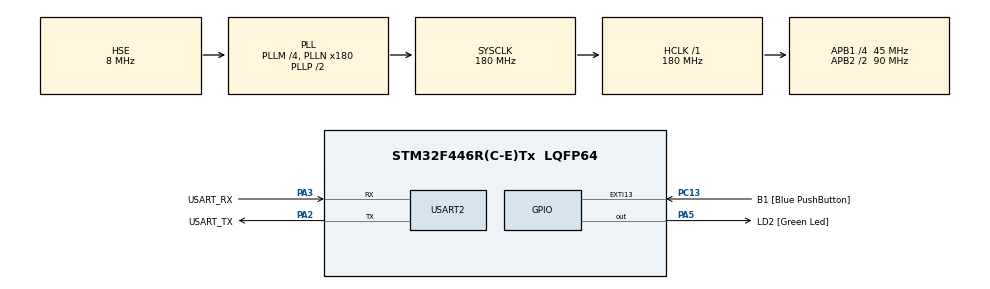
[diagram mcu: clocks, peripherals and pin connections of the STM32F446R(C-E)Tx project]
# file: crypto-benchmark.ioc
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Mcu.Family=STM32F4
Mcu.Name=STM32F446R(C-E)Tx
Mcu.Package=LQFP64
NVIC.PriorityGroup=NVIC_PRIORITYGROUP_0
PA13.GPIO_Label=TMS
PA13.Mode=Serial_Wire
PA13.Signal=SYS_JTMS-SWDIO
PA14.GPIO_Label=TCK
PA14.Mode=Serial_Wire
PA14.Signal=SYS_JTCK-SWCLK
PA2.GPIO_Label=USART_TX
PA2.Mode=Asynchronous
PA2.Signal=USART2_TX
PA3.GPIO_Label=USART_RX
PA3.Mode=Asynchronous
PA3.Signal=USART2_RX
PA5.GPIO_Label=LD2 [Green Led]
PA5.Signal=GPIO_Output
PB3.GPIO_Label=SWO
PB3.Signal=SYS_JTDO-SWO
PC13.GPIO_Label=B1 [Blue PushButton]
PC13.GPIO_ModeDefaultEXTI=GPIO_MODE_IT_FALLING
PC13.Signal=GPXTI13
PC14-OSC32_IN.Mode=LSE-External-Oscillator
PC14-OSC32_IN.Signal=RCC_OSC32_IN
PC15-OSC32_OUT.Mode=LSE-External-Oscillator
PC15-OSC32_OUT.Signal=RCC_OSC32_OUT
PH0-OSC_IN.Mode=HSE-External-Oscillator
PH0-OSC_IN.Signal=RCC_OSC_IN
PH1-OSC_OUT.Mode=HSE-External-Oscillator
PH1-OSC_OUT.Signal=RCC_OSC_OUT
ProjectManager.HeapSize=0x200
ProjectManager.StackSize=0x400
ProjectManager.TargetToolchain=STM32CubeIDE
RCC.48MHZClocksFreq_Value=84000000
RCC.AHBFreq_Value=180000000
RCC.APB1CLKDivider=RCC_HCLK_DIV4
RCC.APB1Freq_Value=45000000
RCC.APB1TimFreq_Value=90000000
RCC.APB2CLKDivider=RCC_HCLK_DIV2
RCC.APB2Freq_Value=90000000
RCC.APB2TimFreq_Value=180000000
RCC.CortexFreq_Value=180000000
RCC.FLatency-AdvancedSettings=FLASH_LATENCY_5
RCC.HCLKFreq_Value=180000000
RCC.HSE_VALUE=8000000
RCC.HSI_VALUE=16000000
RCC.PLLM=4
RCC.PLLN=180
RCC.PLLSourceVirtual=RCC_PLLSOURCE_HSE
RCC.SYSCLKFreq_VALUE=180000000
RCC.SYSCLKSource=RCC_SYSCLKSOURCE_PLLCLK
RCC.USBFreq_Value=180000000
RCC.VCOOutputFreq_Value=360000000
USART2.VirtualMode=VM_ASYNC
VP_CRC_VS_CRC.Mode=CRC_Activate
board=NUCLEO-F446RE

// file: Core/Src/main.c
/* USER CODE BEGIN Header */
/**
  ******************************************************************************
  * @file           : main.c
  * @brief          : Main program body
  ******************************************************************************
  * @attention
  *
  * Copyright (c) 2024 STMicroelectronics.
  * All rights reserved.
  *
  * This software is licensed under terms that can be found in the LICENSE file
  * in the root directory of this software component.
  * If no LICENSE file comes with this software, it is provided AS-IS.
  *
  ******************************************************************************
  */
/* USER CODE END Header */
#include "main.h"
#include "crc.h"
#include "usart.h"
#include "gpio.h"

/* USER CODE BEGIN Includes */
#include "crypto.h"
#include "stdio.h"
#include "string.h"
/* USER CODE END Includes */

/* USER CODE BEGIN PTD */
/* Private typedef -----------------------------------------------------------*/
typedef enum {FAILED = 0, PASSED = !FAILED} TestStatus;
/* Private define ------------------------------------------------------------*/
#define PLAINTEXT_LENGTH 16
/* Private macro -------------------------------------------------------------*/
/* Private variables ---------------------------------------------------------*/
#define USE_CHACHA

#ifdef USE_AES_CBC
const uint8_t Plaintext[PLAINTEXT_LENGTH] =
  {
    0x6b, 0xc1, 0xbe, 0xe2, 0x2e, 0x40, 0x9f, 0x96,
    0xe9, 0x3d, 0x7e, 0x11, 0x73, 0x93, 0x5f, 0x12
  };

uint8_t Key[CRL_AES128_KEY] =
  {
    0x40, 0x41, 0x42, 0x43, 0x44, 0x45, 0x46, 0x47,
    0x48, 0x49, 0x4a, 0x4b, 0x4c, 0x4d, 0x4e, 0x4f
  };

uint8_t IV[CRL_AES_BLOCK] =
  {
    0x00, 0x01, 0x02, 0x03, 0x04, 0x05, 0x06, 0x07,
    0x08, 0x09, 0x0a, 0x0b, 0x0c, 0x0d, 0x0e, 0x0f
  };

uint8_t OutputMessage[PLAINTEXT_LENGTH];
uint32_t OutputMessageLength = 0;

const uint8_t Expected_Ciphertext[PLAINTEXT_LENGTH] =
  {
   0xDC, 0x19, 0xE0, 0xF1, 0x38, 0x8B, 0x06, 0x21, 0x1C, 0xD1, 0xB2, 0x7E, 0xA2, 0x10, 0xD8, 0xD0
  };

int32_t STM32_AES_CBC_Encrypt(uint8_t*  InputMessage,
                              uint32_t  InputMessageLength,
                              uint8_t  *AES192_Key,
                              uint8_t  *InitializationVector,
                              uint32_t  IvLength,
                              uint8_t  *OutputMessage,
                              uint32_t *OutputMessageLength);

int32_t STM32_AES_CBC_Decrypt(uint8_t*  InputMessage,
                              uint32_t  InputMessageLength,
                              uint8_t  *AES192_Key,
                              uint8_t  *InitializationVector,
                              uint32_t  IvLength,
                              uint8_t  *OutputMessage,
                              uint32_t *OutputMessageLength);

#endif

#ifdef USE_AES_EBC
const uint8_t Plaintext_ECB[PLAINTEXT_LENGTH] =
  {
    0x6b, 0xc1, 0xbe, 0xe2, 0x2e, 0x40, 0x9f, 0x96,
    0xe9, 0x3d, 0x7e, 0x11, 0x73, 0x93, 0x5f, 0x12
  };

uint8_t Key_ECB[CRL_AES128_KEY] =
  {
    0x40, 0x41, 0x42, 0x43, 0x44, 0x45, 0x46, 0x47,
    0x48, 0x49, 0x4a, 0x4b, 0x4c, 0x4d, 0x4e, 0x4f
  };

uint8_t OutputMessage_ECB[PLAINTEXT_LENGTH];
uint32_t OutputMessageLength_ECB = 0;

const uint8_t Expected_Ciphertext_ECB[PLAINTEXT_LENGTH] =
  {
    0x8D, 0x16, 0x7C, 0x19, 0x9E, 0x62, 0xFD, 0x1D, 0x3F, 0x9F, 0x0D, 0x68, 0x38, 0xC5, 0xF8, 0xA4
  };

int32_t STM32_AES_ECB_Encrypt(uint8_t* InputMessage,
                              uint32_t InputMessageLength,
                              uint8_t  *AES256_Key,
                              uint8_t  *OutputMessage,
                              uint32_t *OutputMessageLength);

int32_t STM32_AES_ECB_Decrypt(uint8_t* InputMessage,
                              uint32_t InputMessageLength,
                              uint8_t *AES256_Key,
                              uint8_t  *OutputMessage,
                              uint32_t *OutputMessageLength);
#endif

TestStatus Buffercmp(const uint8_t* pBuffer,
                     uint8_t* pBuffer1,
                     uint16_t BufferLength);

#ifdef USE_RSA
uint8_t preallocated_buffer[4096]; /* buffer required for internal allocation of memory */
/******************************************************************************/
/************************** RSA 2048 Test Vector  ****************************/
/******************************************************************************/
const uint8_t Message[] =
  {
    0xEB, 0x39, 0x49, 0x2F, 0x73, 0xED, 0x5E, 0x1C, 0x5E,
    0x45, 0xAF, 0xB5, 0x7F, 0xC1, 0xD6, 0xFE,
  };

const uint8_t Modulus[] =
  {
    0xB5, 0x05, 0xFC, 0xA2, 0xCA, 0x33, 0x48, 0xD5, 0x9B, 0xF3, 0x00, 0x5F, 0x7C, 0xFD, 0xC4, 0x56, 0x4C, 0x25, 0x07,
    0x67, 0xE9, 0xC9, 0x40, 0x24, 0x69, 0x79, 0x61, 0x41, 0x98, 0x1D, 0x6A, 0xF5, 0x6A, 0x1A, 0x84, 0xB5, 0xA9, 0xA4,
    0xB3, 0x33, 0x5F, 0xA0, 0x25, 0xA8, 0x7F, 0x4B, 0x4D, 0x0B, 0xA0, 0x60, 0xB8, 0xBE, 0xF9, 0x34, 0x0B, 0xE4, 0x5F,
    0xDB, 0x05, 0x76, 0x20, 0x38, 0x90, 0xA0, 0x71, 0xCE, 0xE9, 0xB0, 0x59, 0x4B, 0x95, 0x12, 0x7B, 0xB4, 0x80, 0xED,
    0xC7, 0x43, 0xBD, 0xCE, 0x27, 0xFD, 0x2B, 0xEC, 0xD0, 0x33, 0x00, 0x24, 0x32, 0x9E, 0xED, 0xAF, 0x3C, 0x1A, 0x12,
    0x13, 0xB2, 0x8D, 0x32, 0xD1, 0x83, 0xEA, 0xF4, 0x1A, 0x9A, 0x46, 0x3A, 0x08, 0x8C, 0xD4, 0xBA, 0x67, 0xDA, 0x91,
    0x26, 0x79, 0x49, 0xBA, 0xAA, 0x54, 0x26, 0x56, 0x03, 0x76, 0xA7, 0x70, 0x58, 0x9E, 0xA8, 0x37, 0x60, 0xB8, 0xC5,
    0xC1, 0xF9, 0xDD, 0x54, 0x18, 0x4D, 0x7F, 0x91, 0xCC, 0x0A, 0xBB, 0x08, 0xC3, 0x05, 0x3C, 0x04, 0x8B, 0xDC, 0xD0,
    0xE9, 0x7A, 0x16, 0x28, 0x53, 0x0D, 0x20, 0x74, 0x0B, 0xD1, 0xD5, 0x0F, 0x16, 0x48, 0x06, 0xB2, 0x5F, 0x1E, 0x0A,
    0xC9, 0xDD, 0x9E, 0x17, 0xE5, 0x00, 0xD6, 0xB9, 0x2D, 0x40, 0xE6, 0xA8, 0xDC, 0x7F, 0xAE, 0x5B, 0x6B, 0x7F, 0x76,
    0x27, 0xF7, 0xED, 0x0C, 0xF5, 0x1D, 0xC1, 0x6F, 0xA4, 0x00, 0x45, 0x8A, 0x22, 0x09, 0x84, 0xD1, 0xB4, 0xB1, 0x18,
    0x44, 0x76, 0xC9, 0xD6, 0xA7, 0xC6, 0x72, 0x5B, 0x43, 0x48, 0x91, 0x85, 0xBB, 0x7F, 0xB1, 0x44, 0x73, 0x45, 0xF5,
    0x5A, 0x7E, 0x72, 0x3D, 0xA1, 0x8C, 0x43, 0xAE, 0x83, 0xD9, 0xB4, 0xCB, 0x1D, 0xDC, 0x26, 0x3F, 0x7F, 0x1E, 0xFE,
    0x83, 0x6C, 0x9A, 0x0D, 0xEA, 0xE1, 0x94, 0x55, 0xF1
  };

const uint8_t PublicExponent[] =
  {
    0x01, 0x00, 0x01
  };

const uint8_t PrivateExponent[] =
  {
    0x06, 0xBE, 0x0F, 0x57, 0xDC, 0xE2, 0x26, 0x1F, 0x56, 0xAC, 0xA9, 0x61, 0xE5, 0x1C, 0xEA, 0x98, 0x30, 0x43,
    0xDC, 0xCF, 0xC1, 0x04, 0x6E, 0xF0, 0x2C, 0x41, 0x8A, 0x1E, 0xD0, 0x54, 0xA0, 0x2C, 0x3D, 0xE4, 0x78, 0xF6,
    0xEF, 0x37, 0xA4, 0x39, 0x10, 0xA1, 0xBD, 0x65, 0x56, 0x40, 0x6E, 0xC1, 0x35, 0x1B, 0x05, 0x26, 0x8F, 0xCF,
    0xA1, 0x75, 0xC3, 0x20, 0x3C, 0x46, 0xD7, 0x12, 0x64, 0x48, 0xA5, 0x94, 0x88, 0x5D, 0xBA, 0x25, 0xB7, 0x8A,
    0xB5, 0xB2, 0xD6, 0x6E, 0x84, 0xD2, 0x80, 0x1A, 0x52, 0xA0, 0xFA, 0x66, 0xDA, 0xA6, 0x5B, 0xA5, 0xFD, 0x80,
    0xAF, 0xE7, 0xAB, 0xFC, 0x68, 0x99, 0xF5, 0x37, 0x8F, 0x22, 0x00, 0xA0, 0xDA, 0xB0, 0xB6, 0xF8, 0x50, 0xA7,
    0x0A, 0xDF, 0xCD, 0x85, 0x9A, 0xBD, 0x77, 0x4A, 0x63, 0x35, 0xA1, 0xAC, 0x7A, 0xB5, 0x0F, 0x71, 0xF6, 0xF0,
    0x97, 0x4C, 0x59, 0x7B, 0x53, 0xD1, 0x71, 0x98, 0x3D, 0xFD, 0x1E, 0xE3, 0x81, 0x39, 0x0A, 0xD7, 0x8D, 0x2B,
    0x82, 0x12, 0xCC, 0x9D, 0xF9, 0xC7, 0xEE, 0xAC, 0x90, 0x65, 0xC7, 0x01, 0xBC, 0x58, 0x52, 0xEF, 0x02, 0x74,
    0x04, 0x70, 0x87, 0xA0, 0x55, 0x42, 0xAF, 0x89, 0xF2, 0x9B, 0x22, 0xFB, 0x14, 0x5D, 0xF3, 0x26, 0x55, 0xD3,
    0x2F, 0x04, 0xF0, 0x92, 0xC3, 0x1F, 0x45, 0x7B, 0x82, 0xE9, 0x0F, 0xF1, 0x8C, 0xA2, 0x32, 0xA9, 0x56, 0x65,
    0xC8, 0x2E, 0xA1, 0xA5, 0x95, 0x16, 0xBF, 0xC5, 0xDB, 0x78, 0xF8, 0x83, 0xDB, 0xFD, 0x04, 0xD8, 0x29, 0x92,
    0x58, 0xD4, 0xE3, 0x8D, 0xD2, 0x66, 0xB6, 0xDB, 0x4A, 0xC0, 0x4B, 0xE0, 0xF4, 0xF8, 0x02, 0x9B, 0xE8, 0xD3,
    0x41, 0xD9, 0x4A, 0x32, 0x3C, 0x75, 0x43, 0x19, 0xA8, 0x1F, 0x41, 0x90, 0x92, 0x1E, 0xF7, 0x18, 0xE8, 0x0C,
    0x55, 0xC2, 0x98, 0x01
  };

const uint8_t EncryptedMessage[] =
  {
    0x45, 0x4E, 0x4F, 0xE2, 0x40, 0xBA, 0xF4, 0xD9, 0xED, 0xEA, 0x65, 0x79, 0xB4, 0xCF, 0x8D, 0xE4, 0x41, 0x3E,
    0x56, 0x78, 0xAC, 0x5C, 0x47, 0x3F, 0x22, 0x1F, 0x16, 0xCB, 0xBC, 0xFC, 0x9E, 0xB7, 0x31, 0x96, 0x37, 0x83,
    0x3A, 0xFE, 0x46, 0x51, 0x75, 0x27, 0xE6, 0x6F, 0x66, 0x3E, 0xC9, 0xB9, 0xB4, 0x7C, 0x1E, 0xB8, 0xF3, 0xB1,
    0xBA, 0x87, 0xF6, 0x12, 0x0F, 0xCA, 0xD7, 0x63, 0xC0, 0x8A, 0x86, 0xE3, 0xF6, 0x1C, 0x61, 0x5A, 0x01, 0xDD,
    0x3F, 0x97, 0xC9, 0x2A, 0x55, 0x0B, 0x46, 0x25, 0xE6, 0xAE, 0x87, 0x72, 0x08, 0xA8, 0x49, 0x10, 0xED, 0xE0,
    0xAB, 0xD5, 0x73, 0xE4, 0xF2, 0x74, 0x01, 0xCE, 0x7B, 0xAA, 0xD2, 0xC2, 0x86, 0xC1, 0x64, 0x8D, 0xD7, 0x63,
    0xA4, 0x7C, 0xDC, 0xA8, 0x21, 0x93, 0x12, 0x0D, 0xC3, 0x8D, 0xD9, 0x59, 0x97, 0x80, 0xC1, 0xC7, 0x8F, 0x0D,
    0x3B, 0x16, 0x3C, 0xE2, 0x2F, 0xB4, 0x52, 0x8C, 0x0C, 0x15, 0xE5, 0x98, 0x81, 0xEF, 0xB4, 0xD3, 0x5E, 0x72,
    0xC8, 0x89, 0x64, 0xBE, 0x54, 0xEC, 0xFB, 0x38, 0x85, 0xB4, 0x62, 0x39, 0xA6, 0xCC, 0xC4, 0x68, 0x0C, 0xDF,
    0xA4, 0x5A, 0x9D, 0x34, 0x31, 0x2A, 0x0C, 0x3B, 0x52, 0xCF, 0x13, 0xF3, 0xE8, 0x5A, 0x0C, 0xEA, 0x41, 0x94,
    0xD5, 0x25, 0xAA, 0xC0, 0x2B, 0xC8, 0xB2, 0x04, 0xA6, 0xCD, 0x26, 0xF6, 0x02, 0x98, 0x89, 0x79, 0x62, 0x76,
    0x76, 0xEF, 0xF4, 0x3C, 0x09, 0x16, 0x4B, 0x1A, 0x9C, 0xCA, 0x4F, 0x42, 0x9A, 0xA2, 0x4B, 0x98, 0xF8, 0xFF,
    0xBE, 0xBF, 0xE4, 0xA0, 0x0F, 0xEB, 0xC1, 0xDB, 0x69, 0x4D, 0x93, 0x16, 0x5F, 0x3D, 0xBF, 0xA1, 0xD8, 0x4D,
    0x05, 0x21, 0xD1, 0xB4, 0xDA, 0x13, 0x4C, 0x27, 0x8E, 0xB2, 0x4F, 0x57, 0x07, 0xCC, 0xA6, 0xA1, 0x0F, 0x52,
    0xD5, 0x72, 0x16, 0x9D
  };

/* String of entropy */
uint8_t entropy_data[32] =
  {
    0x91, 0x20, 0x1a, 0x18, 0x9b, 0x6d, 0x1a, 0xa7,
    0x0e, 0x69, 0x57, 0x6f, 0x36, 0xb6, 0xaa, 0x88,
    0x55, 0xfd, 0x4a, 0x7f, 0x97, 0xe9, 0x72, 0x69,
    0xb6, 0x60, 0x88, 0x78, 0xe1, 0x9c, 0x8c, 0xa5
  };

uint8_t output[2048/8];
int32_t outputSize = 0;

/* Private function prototypes -----------------------------------------------*/

int32_t RSA_Encrypt(RSApubKey_stt *P_pPubKey,
                    const uint8_t *P_pInputMessage,
                    int32_t P_InputSize,
                    uint8_t *P_pOutput);

int32_t RSA_Decrypt(RSAprivKey_stt * P_pPrivKey,
                    const uint8_t * P_pInputMessage,
                    uint8_t *P_pOutput,
                    int32_t *P_OutputSize);

#endif

#ifdef USE_CHACHA
const uint8_t key[] =
  {
    0x80, 0x81, 0x82, 0x83, 0x84, 0x85, 0x86, 0x87, 0x88, 0x89, 0x8a, 0x8b, 0x8c, 0x8d, 0x8e, 0x8f,
    0x90, 0x91, 0x92, 0x93, 0x94, 0x95, 0x96, 0x97, 0x98, 0x99, 0x9a, 0x9b, 0x9c, 0x9d, 0x9e, 0x9f,
  };

const uint8_t nonce[] =
  {
    0x07, 0x00, 0x00, 0x00, 0x40, 0x41, 0x42, 0x43, 0x44, 0x45, 0x46, 0x47,
  };

const uint8_t input[] =
  {
    0x6b, 0xc1, 0xbe, 0xe2, 0x2e, 0x40, 0x9f, 0x96,
	0xe9, 0x3d, 0x7e, 0x11, 0x73, 0x93, 0x5f, 0x12
  };

const uint8_t aad[] =
  {
    0x50, 0x51, 0x52, 0x53, 0xc0, 0xc1, 0xc2, 0xc3, 0xc4, 0xc5, 0xc6, 0xc7,
  };

uint8_t rfc_result[] =
  {
    0xd3, 0x1a, 0x8d, 0x34, 0x64, 0x8e, 0x60, 0xdb, 0x7b, 0x86, 0xaf, 0xbc, 0x53, 0xef, 0x7e, 0xc2,
    0xa4, 0xad, 0xed, 0x51, 0x29, 0x6e, 0x08, 0xfe, 0xa9, 0xe2, 0xb5, 0xa7, 0x36, 0xee, 0x62, 0xd6,
    0x3d, 0xbe, 0xa4, 0x5e, 0x8c, 0xa9, 0x67, 0x12, 0x82, 0xfa, 0xfb, 0x69, 0xda, 0x92, 0x72, 0x8b,
    0x1a, 0x71, 0xde, 0x0a, 0x9e, 0x06, 0x0b, 0x29, 0x05, 0xd6, 0xa5, 0xb6, 0x7e, 0xcd, 0x3b, 0x36,
    0x92, 0xdd, 0xbd, 0x7f, 0x2d, 0x77, 0x8b, 0x8c, 0x98, 0x03, 0xae, 0xe3, 0x28, 0x09, 0x1b, 0x58,
    0xfa, 0xb3, 0x24, 0xe4, 0xfa, 0xd6, 0x75, 0x94, 0x55, 0x85, 0x80, 0x8b, 0x48, 0x31, 0xd7, 0xbc,
    0x3f, 0xf4, 0xde, 0xf0, 0x8e, 0x4b, 0x7a, 0x9d, 0xe5, 0x76, 0xd2, 0x65, 0x86, 0xce, 0xc6, 0x4b,
    0x61, 0x16,
  };

const uint8_t rfc_tag[] =
  {
    0x1a, 0xe1, 0x0b, 0x59, 0x4f, 0x09, 0xe2, 0x6a, 0x7e, 0x90, 0x2e, 0xcb, 0xd0, 0x60, 0x06, 0x91,
  };
uint8_t outputBuffer_enc[265];
uint8_t outputBuffer_dec[265];

/* Private function prototypes -----------------------------------------------*/
int32_t STM32_ChaChaPoly_Encrypt(const uint8_t *AAD,
                                 int32_t      AADSize,
                                 const uint8_t *InputMessage,
                                 int32_t      InputMessageSize,
                                 const uint8_t  *Key,
                                 const uint8_t  *Nonce,
                                 uint8_t     *Output);

int32_t STM32_ChaChaPoly_Decrypt(const uint8_t *AAD,
                                 int32_t      AADSize,
                                 const uint8_t *InputMessage,
                                 int32_t      InputMessageSize,
                                 const uint8_t  *Key,
                                 const uint8_t  *Nonce,
                                 uint8_t     *Output,
                                 const uint8_t  *Tag);
#endif
/* USER CODE END PTD */

void SystemClock_Config(void);

int main(void)
{

  /* USER CODE BEGIN 1 */
  int32_t status = AES_SUCCESS;
  uint32_t stop_millis, start_millis;
  uint32_t result;
  uint8_t buff[50];
#ifdef USE_RSA
  RSApubKey_stt PubKey_st;
  RSAprivKey_stt PrivKey_st;
#endif
  /* USER CODE END 1 */

  /* MCU Configuration--------------------------------------------------------*/

  /* Reset of all peripherals, Initializes the Flash interface and the Systick. */
  HAL_Init();

  /* Configure the system clock */
  SystemClock_Config();

  /* Initialize all configured peripherals */
  MX_GPIO_Init();
  MX_USART2_UART_Init();
  MX_CRC_Init();
  /* USER CODE BEGIN 2 */
  HAL_UART_Transmit(&huart2, (uint8_t *)"Piotr Slawecki & Jan Chyczynski - Crypto Alg test for STM32F446:\n\r", strlen("Piotr Slawecki & Jan Chyczynski - Crypto Alg test for STM32F446:\n\r"), 100);
#ifdef USE_AES_CBC
  /* Encrypt DATA with AES in CBC mode */
  uint32_t start_millis = HAL_GetTick();
  for(int i = 0; i < 50000; i++) {
    status = STM32_AES_CBC_Encrypt( (uint8_t *) Plaintext, PLAINTEXT_LENGTH, Key, IV, sizeof(IV), OutputMessage,
                                    &OutputMessageLength);
    if (status == AES_SUCCESS)
    {
//      if (Buffercmp(Expected_Ciphertext, OutputMessage, PLAINTEXT_LENGTH) == PASSED)
//      {
//      }
//      else
//      {
//        Error_Handler();
//      }
    }
    else
    {
      Error_Handler();
    }

    /* Decrypt DATA with AES in CBC mode */
    status = STM32_AES_CBC_Decrypt( (uint8_t *) Expected_Ciphertext, PLAINTEXT_LENGTH, Key, IV, sizeof(IV), OutputMessage,
                                    &OutputMessageLength);
    if (status == AES_SUCCESS)
    {
//      if (Buffercmp(Plaintext, OutputMessage, PLAINTEXT_LENGTH) == PASSED)
//      {
//      }
//      else
//      {
//        Error_Handler();
//      }
    }
    else
    {
      Error_Handler();
    }
  }
  uint32_t stop_millis = HAL_GetTick();
  uint32_t result = stop_millis - start_millis;
    /* Turn on the green led in case of AES CBC operations are succssfuls*/
  uint8_t buff[50];
  sprintf(buff, "Elapsed (CryptoLib CBC 50k ops): %ld\n\r", result);
  HAL_UART_Transmit(&huart2, (uint8_t *)buff, strlen(buff), 100);
  HAL_GPIO_WritePin(GPIOA, GPIO_PIN_5, GPIO_PIN_SET);
  HAL_Delay(1000);
  HAL_GPIO_WritePin(GPIOA, GPIO_PIN_5, GPIO_PIN_RESET);
#endif

#ifdef USE_AES_EBC
  /* Encrypt DATA with AES in ECB mode */
  start_millis = HAL_GetTick();
  for(int i = 0; i < 50000; i++) {
    status = STM32_AES_ECB_Encrypt( (uint8_t *) Plaintext_ECB, PLAINTEXT_LENGTH, Key_ECB, OutputMessage_ECB,
                                    &OutputMessageLength_ECB);
    if (status == AES_SUCCESS)
    {
//      if (Buffercmp(Expected_Ciphertext_ECB, OutputMessage_ECB, PLAINTEXT_LENGTH) == PASSED)
//      {
//      }
//      else
//      {
//    	HAL_UART_Transmit(&huart2, (uint8_t *)"Error\n\r", strlen("Error\n\r"), 100);
//    	uint8_t errbuff[50];
//
//    	for(int b = 0; b < 16; b++) {
//    		sprintf(errbuff, "Ciphertext Byte %d: %02x\n\r", b, OutputMessage_ECB[b]);
//    		HAL_UART_Transmit(&huart2, (uint8_t *)errbuff, strlen(errbuff), 100);
//    	}
//
//        Error_Handler();
//      }
    }
    else
    {
      Error_Handler();
    }
    /* Decrypt DATA with AES in ECB mode */
    status = STM32_AES_ECB_Decrypt( (uint8_t *) Expected_Ciphertext_ECB, PLAINTEXT_LENGTH, Key_ECB, OutputMessage_ECB,
                                    &OutputMessageLength_ECB);
    if (status == AES_SUCCESS)
    {
//      if (Buffercmp(Plaintext_ECB, OutputMessage_ECB, PLAINTEXT_LENGTH) == PASSED)
//      {
//      }
//      else
//      {
//        Error_Handler();
//      }
    }
    else
    {
      Error_Handler();
    }
  }
  stop_millis = HAL_GetTick();
  result = stop_millis - start_millis;
  sprintf(buff, "Elapsed (CryptoLib ECB 50k ops): %ld\n\r", result);
  HAL_UART_Transmit(&huart2, (uint8_t *)buff, strlen(buff), 100);
  HAL_GPIO_WritePin(GPIOA, GPIO_PIN_5, GPIO_PIN_SET);
  HAL_Delay(1000);
  HAL_GPIO_WritePin(GPIOA, GPIO_PIN_5, GPIO_PIN_RESET);
#endif

#ifdef USE_RSA
  status = RSA_ERR_GENERIC;
  start_millis = HAL_GetTick();
  for(int i = 0; i < 50; i++) {
  /* Testing Encryption and Decryption */
    /* Preparing for Encryption */
    PubKey_st.mExponentSize = sizeof(PublicExponent);
    PubKey_st.mModulusSize = sizeof(Modulus);
    PubKey_st.pmExponent = (uint8_t *) PublicExponent;
    PubKey_st.pmModulus = (uint8_t *)Modulus;
    status = RSA_Encrypt(&PubKey_st, Message, sizeof(Message), output);

    if (status == RSA_SUCCESS)
    {
      /* Now we will test decryption */
      PrivKey_st.mExponentSize = sizeof(PrivateExponent);
      PrivKey_st.mModulusSize = sizeof(Modulus);
      PrivKey_st.pmExponent = (uint8_t *) PrivateExponent;
      PrivKey_st.pmModulus = (uint8_t *) Modulus;
      status = RSA_Decrypt(&PrivKey_st, output, output, &outputSize);

      if (status == RSA_SUCCESS)
      {
        /* Check expected output */
//        if ( (Buffercmp(Message, output, sizeof(Message)) == PASSED ) && (outputSize == sizeof(Message)))
//        {
//          /* add application traitment in case of Encryption/Decryption is passed */
//        }
//        else
//        {
//          HAL_UART_Transmit(&huart2, (uint8_t *)"Error\n\r", strlen("Error\n\r"), 100);
//          Error_Handler();
//        }
      }
      else
      {
    	HAL_UART_Transmit(&huart2, (uint8_t *)"Error\n\r", strlen("Error\n\r"), 100);
        Error_Handler();
      }
    }
    else
    {
      HAL_UART_Transmit(&huart2, (uint8_t *)"Error\n\r", strlen("Error\n\r"), 100);
      Error_Handler();
    }

  }
  stop_millis = HAL_GetTick();
  result = stop_millis - start_millis;
  sprintf(buff, "Elapsed (CryptoLib RSA-256 50 ops): %ld\n\r", result);
  HAL_UART_Transmit(&huart2, (uint8_t *)buff, strlen(buff), 100);
    /* Turn on the green led in case of RSA encryption/decryption operations are successful*/
  HAL_GPIO_WritePin(GPIOA, GPIO_PIN_5, GPIO_PIN_SET);
  HAL_Delay(1000);
  HAL_GPIO_WritePin(GPIOA, GPIO_PIN_5, GPIO_PIN_RESET);
#endif

#ifdef USE_CHACHA
  status = CHACHA20POLY1305_SUCCESS; /* Status */
  start_millis = HAL_GetTick();
  for(int i = 0; i < 50000; i++) {
  	status = STM32_ChaChaPoly_Encrypt(aad, sizeof(aad), input, sizeof(input), key, nonce, outputBuffer_enc);

    if (status == CHACHA20POLY1305_SUCCESS)
    {
      /* Function returned SUCCESS */
      /* Checking Encrypted text with expected value */
//      if (Buffercmp(rfc_result, outputBuffer, sizeof(rfc_result)) == PASSED)
//      {
//        /* add application traitment in case of CHACHA20-POLY1305 success */
//      }
//      else
//      {
//        Error_Handler();
//      }
      /* Checking TAG with expected value */
//      if (Buffercmp(rfc_tag, outputBuffer + sizeof(rfc_result), sizeof(rfc_tag)) == PASSED)
//      {
//        /* add application traitment in case of CHACHA20-POLY1305 success */
//      }
//      else
//      {
//        Error_Handler();
//      }
    }
    else
    {
      HAL_UART_Transmit(&huart2, (uint8_t *)"Error\n\r", strlen("Error\n\r"), 100);
      Error_Handler();

    }

    status = STM32_ChaChaPoly_Decrypt(aad, sizeof(aad), outputBuffer_enc, sizeof(outputBuffer_enc), key, nonce, outputBuffer_dec, rfc_tag);

    if (status == AUTHENTICATION_SUCCESSFUL)
    {

      /* Function returned AUTHENTICATION_SUCCESSFUL */
      /* Checking Decrypted text with expected value */
      if (Buffercmp(input, outputBuffer_dec, sizeof(input)) == PASSED)

      {
        /* add application traitment in case of CHACHA20-POLY1305 success */
      }
      else
      {
    	HAL_UART_Transmit(&huart2, (uint8_t *)"Error\n\r", strlen("Error\n\r"), 100);
        Error_Handler();

      }
    }
    else
    {

      //Error_Handler();
    }
  }
  stop_millis = HAL_GetTick();
  result = stop_millis - start_millis;
  sprintf(buff, "Elapsed (CryptoLib ChaCha20-Poly1305 50k ops): %ld\n\r", result);
  HAL_UART_Transmit(&huart2, (uint8_t *)buff, strlen(buff), 100);
    /* Turn on the green led in case of ARC4 operations are successful*/
  HAL_GPIO_WritePin(GPIOA, GPIO_PIN_5, GPIO_PIN_SET);
#endif
  /* USER CODE END 2 */

  /* Infinite loop */
  while (1)
  {

  }
}

void SystemClock_Config(void)
{
  RCC_OscInitTypeDef RCC_OscInitStruct = {0};
  RCC_ClkInitTypeDef RCC_ClkInitStruct = {0};

  /** Configure the main internal regulator output voltage
  */
  __HAL_RCC_PWR_CLK_ENABLE();
  __HAL_PWR_VOLTAGESCALING_CONFIG(PWR_REGULATOR_VOLTAGE_SCALE1);

  /** Initializes the RCC Oscillators according to the specified parameters
  * in the RCC_OscInitTypeDef structure.
  */
  RCC_OscInitStruct.OscillatorType = RCC_OSCILLATORTYPE_HSE;
  RCC_OscInitStruct.HSEState = RCC_HSE_ON;
  RCC_OscInitStruct.PLL.PLLState = RCC_PLL_ON;
  RCC_OscInitStruct.PLL.PLLSource = RCC_PLLSOURCE_HSE;
  RCC_OscInitStruct.PLL.PLLM = 4;
  RCC_OscInitStruct.PLL.PLLN = 180;
  RCC_OscInitStruct.PLL.PLLP = RCC_PLLP_DIV2;
  RCC_OscInitStruct.PLL.PLLQ = 2;
  RCC_OscInitStruct.PLL.PLLR = 2;
  if (HAL_RCC_OscConfig(&RCC_OscInitStruct) != HAL_OK)
  {
    Error_Handler();
  }

  /** Activate the Over-Drive mode
  */
  if (HAL_PWREx_EnableOverDrive() != HAL_OK)
  {
    Error_Handler();
  }

  /** Initializes the CPU, AHB and APB buses clocks
  */
  RCC_ClkInitStruct.ClockType = RCC_CLOCKTYPE_HCLK|RCC_CLOCKTYPE_SYSCLK
                              |RCC_CLOCKTYPE_PCLK1|RCC_CLOCKTYPE_PCLK2;
  RCC_ClkInitStruct.SYSCLKSource = RCC_SYSCLKSOURCE_PLLCLK;
  RCC_ClkInitStruct.AHBCLKDivider = RCC_SYSCLK_DIV1;
  RCC_ClkInitStruct.APB1CLKDivider = RCC_HCLK_DIV4;
  RCC_ClkInitStruct.APB2CLKDivider = RCC_HCLK_DIV2;

  if (HAL_RCC_ClockConfig(&RCC_ClkInitStruct, FLASH_LATENCY_5) != HAL_OK)
  {
    Error_Handler();
  }
}

/* USER CODE BEGIN 4 */
#ifdef USE_AES_CBC
int32_t STM32_AES_CBC_Encrypt(uint8_t* InputMessage,
                              uint32_t InputMessageLength,
                              uint8_t  *AES192_Key,
                              uint8_t  *InitializationVector,
                              uint32_t  IvLength,
                              uint8_t  *OutputMessage,
                              uint32_t *OutputMessageLength)
{
  AESCBCctx_stt AESctx;

  uint32_t error_status = AES_SUCCESS;

  int32_t outputLength = 0;

  /* Set flag field to default value */
  AESctx.mFlags = E_SK_DEFAULT;

  /* Set key size to 24 (corresponding to AES-192) */
  AESctx.mKeySize = 16;

  /* Set iv size field to IvLength*/
  AESctx.mIvSize = IvLength;

  /* Initialize the operation, by passing the key.
   * Third parameter is NULL because CBC doesn't use any IV */
  error_status = AES_CBC_Encrypt_Init(&AESctx, AES192_Key, InitializationVector );

  /* check for initialization errors */
  if (error_status == AES_SUCCESS)
  {
    /* Encrypt Data */
    error_status = AES_CBC_Encrypt_Append(&AESctx,
                                          InputMessage,
                                          InputMessageLength,
                                          OutputMessage,
                                          &outputLength);

    if (error_status == AES_SUCCESS)
    {
      /* Write the number of data written*/
      *OutputMessageLength = outputLength;
      /* Do the Finalization */
      error_status = AES_CBC_Encrypt_Finish(&AESctx, OutputMessage + *OutputMessageLength, &outputLength);
      /* Add data written to the information to be returned */
      *OutputMessageLength += outputLength;
    }
  }

  return error_status;
}

/**
  * @brief  AES CBC Decryption example.
  * @param  InputMessage: pointer to input message to be decrypted.
  * @param  InputMessageLength: input data message length in byte.
  * @param  AES192_Key: pointer to the AES key to be used in the operation
  * @param  InitializationVector: pointer to the Initialization Vector (IV)
  * @param  IvLength: IV length in bytes.
  * @param  OutputMessage: pointer to output parameter that will handle the decrypted message
  * @param  OutputMessageLength: pointer to decrypted message length.
  * @retval error status: can be AES_SUCCESS if success or one of
  *         AES_ERR_BAD_INPUT_SIZE, AES_ERR_BAD_OPERATION, AES_ERR_BAD_CONTEXT
  *         AES_ERR_BAD_PARAMETER if error occured.
  */
int32_t STM32_AES_CBC_Decrypt(uint8_t* InputMessage,
                              uint32_t InputMessageLength,
                              uint8_t  *AES192_Key,
                              uint8_t  *InitializationVector,
                              uint32_t  IvLength,
                              uint8_t  *OutputMessage,
                              uint32_t *OutputMessageLength)
{
  AESCBCctx_stt AESctx;

  uint32_t error_status = AES_SUCCESS;

  int32_t outputLength = 0;

  /* Set flag field to default value */
  AESctx.mFlags = E_SK_DEFAULT;

  /* Set key size to 24 (corresponding to AES-128) */
  AESctx.mKeySize = 16;

  /* Set iv size field to IvLength*/
  AESctx.mIvSize = IvLength;

  /* Initialize the operation, by passing the key.
   * Third parameter is NULL because CBC doesn't use any IV */
  error_status = AES_CBC_Decrypt_Init(&AESctx, AES192_Key, InitializationVector );

  /* check for initialization errors */
  if (error_status == AES_SUCCESS)
  {
    /* Decrypt Data */
    error_status = AES_CBC_Decrypt_Append(&AESctx,
                                          InputMessage,
                                          InputMessageLength,
                                          OutputMessage,
                                          &outputLength);

    if (error_status == AES_SUCCESS)
    {
      /* Write the number of data written*/
      *OutputMessageLength = outputLength;
      /* Do the Finalization */
      error_status = AES_CBC_Decrypt_Finish(&AESctx, OutputMessage + *OutputMessageLength, &outputLength);
      /* Add data written to the information to be returned */
      *OutputMessageLength += outputLength;
    }
  }

  return error_status;
}
#endif

#ifdef USE_AES_EBC
/**
  * @brief  AES ECB Encryption example.
  * @param  InputMessage: pointer to input message to be encrypted.
  * @param  InputMessageLength: input data message length in byte.
  * @param  AES128_Key: pointer to the AES key to be used in the operation
  * @param  OutputMessage: pointer to output parameter that will handle the encrypted message
  * @param  OutputMessageLength: pointer to encrypted message length.
  * @retval error status: can be AES_SUCCESS if success or one of
  *         AES_ERR_BAD_INPUT_SIZE, AES_ERR_BAD_OPERATION, AES_ERR_BAD_CONTEXT
  *         AES_ERR_BAD_PARAMETER if error occured.
  */
int32_t STM32_AES_ECB_Encrypt(uint8_t* InputMessage,
                              uint32_t InputMessageLength,
                              uint8_t  *AES256_Key,
                              uint8_t  *OutputMessage,
                              uint32_t *OutputMessageLength)
{
  AESECBctx_stt AESctx;

  uint32_t error_status = AES_SUCCESS;

  int32_t outputLength = 0;

  /* Set flag field to default value */
  AESctx.mFlags = E_SK_DEFAULT;

  /* Set key size to 32 (corresponding to AES-256) */
  AESctx.mKeySize = 16;

  /* Initialize the operation, by passing the key.
   * Third parameter is NULL because ECB doesn't use any IV */
  error_status = AES_ECB_Encrypt_Init(&AESctx, AES256_Key, NULL );

  /* check for initialization errors */
  if (error_status == AES_SUCCESS)
  {
    /* Encrypt Data */
    error_status = AES_ECB_Encrypt_Append(&AESctx,
                                          InputMessage,
                                          InputMessageLength,
                                          OutputMessage,
                                          &outputLength);

    if (error_status == AES_SUCCESS)
    {
      /* Write the number of data written*/
      *OutputMessageLength = outputLength;
      /* Do the Finalization */
      error_status = AES_ECB_Encrypt_Finish(&AESctx, OutputMessage + *OutputMessageLength, &outputLength);
      /* Add data written to the information to be returned */
      *OutputMessageLength += outputLength;
    }
  }

  return error_status;
}

/**
  * @brief  AES ECB Decryption example.
  * @param  InputMessage: pointer to input message to be decrypted.
  * @param  InputMessageLength: input data message length in byte.
  * @param  AES128_Key: pointer to the AES key to be used in the operation
  * @param  OutputMessage: pointer to output parameter that will handle the decrypted message
  * @param  OutputMessageLength: pointer to decrypted message length.
  * @retval error status: can be AES_SUCCESS if success or one of
  *         AES_ERR_BAD_INPUT_SIZE, AES_ERR_BAD_OPERATION, AES_ERR_BAD_CONTEXT
  *         AES_ERR_BAD_PARAMETER if error occured.
  */
int32_t STM32_AES_ECB_Decrypt(uint8_t* InputMessage,
                              uint32_t InputMessageLength,
                              uint8_t  *AES256_Key,
                              uint8_t  *OutputMessage,
                              uint32_t *OutputMessageLength)
{
  AESECBctx_stt AESctx;

  uint32_t error_status = AES_SUCCESS;

  int32_t outputLength = 0;

  /* Set flag field to default value */
  AESctx.mFlags = E_SK_DEFAULT;

  /* Set key size to 32 (corresponding to AES-256) */
  AESctx.mKeySize = 16;

  /* Initialize the operation, by passing the key.
   * Third parameter is NULL because ECB doesn't use any IV */
  error_status = AES_ECB_Decrypt_Init(&AESctx, AES256_Key, NULL );

  /* check for initialization errors */
  if (error_status == AES_SUCCESS)
  {
    /* Decrypt Data */
    error_status = AES_ECB_Decrypt_Append(&AESctx,
                                          InputMessage,
                                          InputMessageLength,
                                          OutputMessage,
                                          &outputLength);

    if (error_status == AES_SUCCESS)
    {
      /* Write the number of data written*/
      *OutputMessageLength = outputLength;
      /* Do the Finalization */
      error_status = AES_ECB_Decrypt_Finish(&AESctx, OutputMessage + *OutputMessageLength, &outputLength);
      /* Add data written to the information to be returned */
      *OutputMessageLength += outputLength;
    }
  }

  return error_status;
}
#endif

#ifdef USE_RSA
/**
  * @brief  RSA Encryption with PKCS#1v1.5
  * @param  P_pPubKey The RSA public key structure, already initialized
  * @param  P_pInputMessage Input Message to be signed
  * @param  P_MessageSize Size of input message
  * @param  P_pOutput Pointer to output buffer
  * @retval error status: can be RSA_SUCCESS if success or one of
  * RSA_ERR_BAD_PARAMETER, RSA_ERR_MESSAGE_TOO_LONG, RSA_ERR_BAD_OPERATION
*/
int32_t RSA_Encrypt(RSApubKey_stt *P_pPubKey,
                    const uint8_t *P_pInputMessage,
                    int32_t P_InputSize,
                    uint8_t *P_pOutput)
{
  int32_t status = RNG_SUCCESS ;
  RNGstate_stt RNGstate;
  RNGinitInput_stt RNGinit_st;
  RNGinit_st.pmEntropyData = entropy_data;
  RNGinit_st.mEntropyDataSize = sizeof(entropy_data);
  RNGinit_st.mPersDataSize = 0;
  RNGinit_st.mNonceSize = 0;

  status = RNGinit(&RNGinit_st, &RNGstate);
  if (status == RNG_SUCCESS)
  {
    RSAinOut_stt inOut_st;
    membuf_stt mb;

    mb.mSize = sizeof(preallocated_buffer);
    mb.mUsed = 0;
    mb.pmBuf = preallocated_buffer;

    /* Fill the RSAinOut_stt */
    inOut_st.pmInput = P_pInputMessage;
    inOut_st.mInputSize = P_InputSize;
    inOut_st.pmOutput = P_pOutput;

    /* Encrypt the message, this function will write sizeof(modulus) data */
    status = RSA_PKCS1v15_Encrypt(P_pPubKey, &inOut_st, &RNGstate, &mb);
  }
  return(status);
}

/**
  * @brief  RSA Decryption with PKCS#1v1.5
  * @param  P_pPrivKey The RSA private key structure, already initialized
  * @param  P_pInputMessage Input Message to be signed
  * @param  P_MessageSize Size of input message
  * @param  P_pOutput Pointer to output buffer
  * @retval error status: can be RSA_SUCCESS if success or RSA_ERR_GENERIC in case of fail
*/
int32_t RSA_Decrypt(RSAprivKey_stt * P_pPrivKey,
                    const uint8_t * P_pInputMessage,
                    uint8_t *P_pOutput,
                    int32_t *P_OutputSize)
{
  int32_t status = RSA_SUCCESS ;
  RSAinOut_stt inOut_st;
  membuf_stt mb;

  mb.mSize = sizeof(preallocated_buffer);
  mb.mUsed = 0;
  mb.pmBuf = preallocated_buffer;

  /* Fill the RSAinOut_stt */
  inOut_st.pmInput = P_pInputMessage;
  inOut_st.mInputSize = P_pPrivKey->mModulusSize;
  inOut_st.pmOutput = P_pOutput;

  /* Encrypt the message, this function will write sizeof(modulus) data */
  status = RSA_PKCS1v15_Decrypt(P_pPrivKey, &inOut_st, P_OutputSize, &mb);
  return(status);
}
#endif

#ifdef USE_CHACHA
/**
* @brief  ChaCha20-Poly1305 AEAD Encryption
* @param  AAD: Pointer to Additional Authenticated Data
* @param  AADSize: size of AAD
* @param  InputMessage: pointer to input message
* @param  InputMessageSize: size of input message
* @param  Key: pointer to the 256-bit key
* @param  Nonce: pointer to the 96-bit Nonce
* @param  Output: pointer to output buffer, the tag will be concatenated to the encrypted text
* @retval error status: can be CHACHA20POLY1305_SUCCESS if success or one of
*                     CHACHA20POLY1305_ERR_BAD_PARAMETER,CHACHA20POLY1305_ERR_BAD_OPERATION if error occured.
*/
int32_t STM32_ChaChaPoly_Encrypt(const uint8_t *AAD,
                                 int32_t      AADSize,
                                 const uint8_t *InputMessage,
                                 int32_t      InputMessageSize,
                                 const uint8_t  *Key,
                                 const uint8_t  *Nonce,
                                 uint8_t     *Output)
{
  /* ChaCha20Poly1305, error status and output length */
  ChaCha20Poly1305ctx_stt ctx;
  /* Default value for error status */
  uint32_t error_status = CHACHA20POLY1305_SUCCESS;
  /* Integer to store size of written data */
  int32_t outputLength = 0;

  /* Set flag field to default value */
  ctx.mFlags = E_SK_DEFAULT;

  /* Call the Init */
  error_status = ChaCha20Poly1305_Encrypt_Init(&ctx, Key, Nonce);
  if (error_status == CHACHA20POLY1305_SUCCESS)
  {
    /* Process the AAD */
    error_status = ChaCha20Poly1305_Header_Append(&ctx, AAD, AADSize);
    if (error_status == CHACHA20POLY1305_SUCCESS)
    {
      /* Encrypt Message */
      error_status = ChaCha20Poly1305_Encrypt_Append(&ctx, InputMessage, InputMessageSize, Output, &outputLength);
      if (error_status == CHACHA20POLY1305_SUCCESS)
      {
        /* Generate authentication tag */
        error_status = ChaCha20Poly1305_Encrypt_Finish(&ctx, Output + outputLength, &outputLength);
      }
    }
  }

  return error_status;
}

/**
* @brief  ChaCha20-Poly1305 AEAD Decryption and Authentication
* @param  AAD: Pointer to Additional Authenticated Data
* @param  AADSize: size of AAD
* @param  InputMessage: pointer to input message
* @param  InputMessageSize: size of input message
* @param  Key: pointer to the 256-bit key
* @param  Nonce: pointer to the 96-bit Nonce
* @param  Output: pointer to output buffer
* @param  Tag: pointer to input Tag to be verified
* @retval error status: AUTHENTICATION_SUCCESSFUL if success or one of
*                     CHACHA20POLY1305_ERR_BAD_PARAMETER,CHACHA20POLY1305_ERR_BAD_OPERATION
*                     CHACHA20POLY1305_ERR_BAD_CONTEXT, AUTHENTICATION_FAILED if error occured.
*/
int32_t STM32_ChaChaPoly_Decrypt(const uint8_t *AAD,
                                 int32_t      AADSize,
                                 const uint8_t *InputMessage,
                                 int32_t      InputMessageSize,
                                 const uint8_t  *Key,
                                 const uint8_t  *Nonce,
                                 uint8_t     *Output,
                                 const uint8_t  *Tag)
{
  /* ChaCha20Poly1305, error status and output length */
  ChaCha20Poly1305ctx_stt ctx;
  /* Default value for error status */
  uint32_t error_status = AUTHENTICATION_FAILED;
  /* Integer to store size of written data */
  int32_t outputLength = 0;

  /* Set flag field to default value */
  ctx.mFlags = E_SK_DEFAULT;
  /* Set the tag that will be verified */
  ctx.pmTag = Tag;

  /* Call the Init */
  error_status = ChaCha20Poly1305_Decrypt_Init(&ctx, Key, Nonce);
  if (error_status == CHACHA20POLY1305_SUCCESS)
  {
    /* Process the AAD */
    error_status = ChaCha20Poly1305_Header_Append(&ctx, AAD, AADSize);
    if (error_status == CHACHA20POLY1305_SUCCESS)
    {
      /* Decrypt Message */
      error_status = ChaCha20Poly1305_Decrypt_Append(&ctx, InputMessage, InputMessageSize, Output, &outputLength);
      if (error_status == CHACHA20POLY1305_SUCCESS)
      {
        /* Verify authentication tag */
        error_status = ChaCha20Poly1305_Decrypt_Finish(&ctx, NULL, 0);
      }
    }
  }

  return error_status;
}

#endif
/**
  * @brief  Compares two buffers.
  * @param  pBuffer, pBuffer1: buffers to be compared.
  * @param  BufferLength: buffer's length
  * @retval PASSED: pBuffer identical to pBuffer1
  *         FAILED: pBuffer differs from pBuffer1
  */
TestStatus Buffercmp(const uint8_t* pBuffer, uint8_t* pBuffer1, uint16_t BufferLength)
{
  while (BufferLength--)
  {
    if (*pBuffer != *pBuffer1)
    {
      return FAILED;
    }

    pBuffer++;
    pBuffer1++;
  }

  return PASSED;
}
/* USER CODE END 4 */

void Error_Handler(void)
{
  __disable_irq();
  while (1)
  {
  }
}
